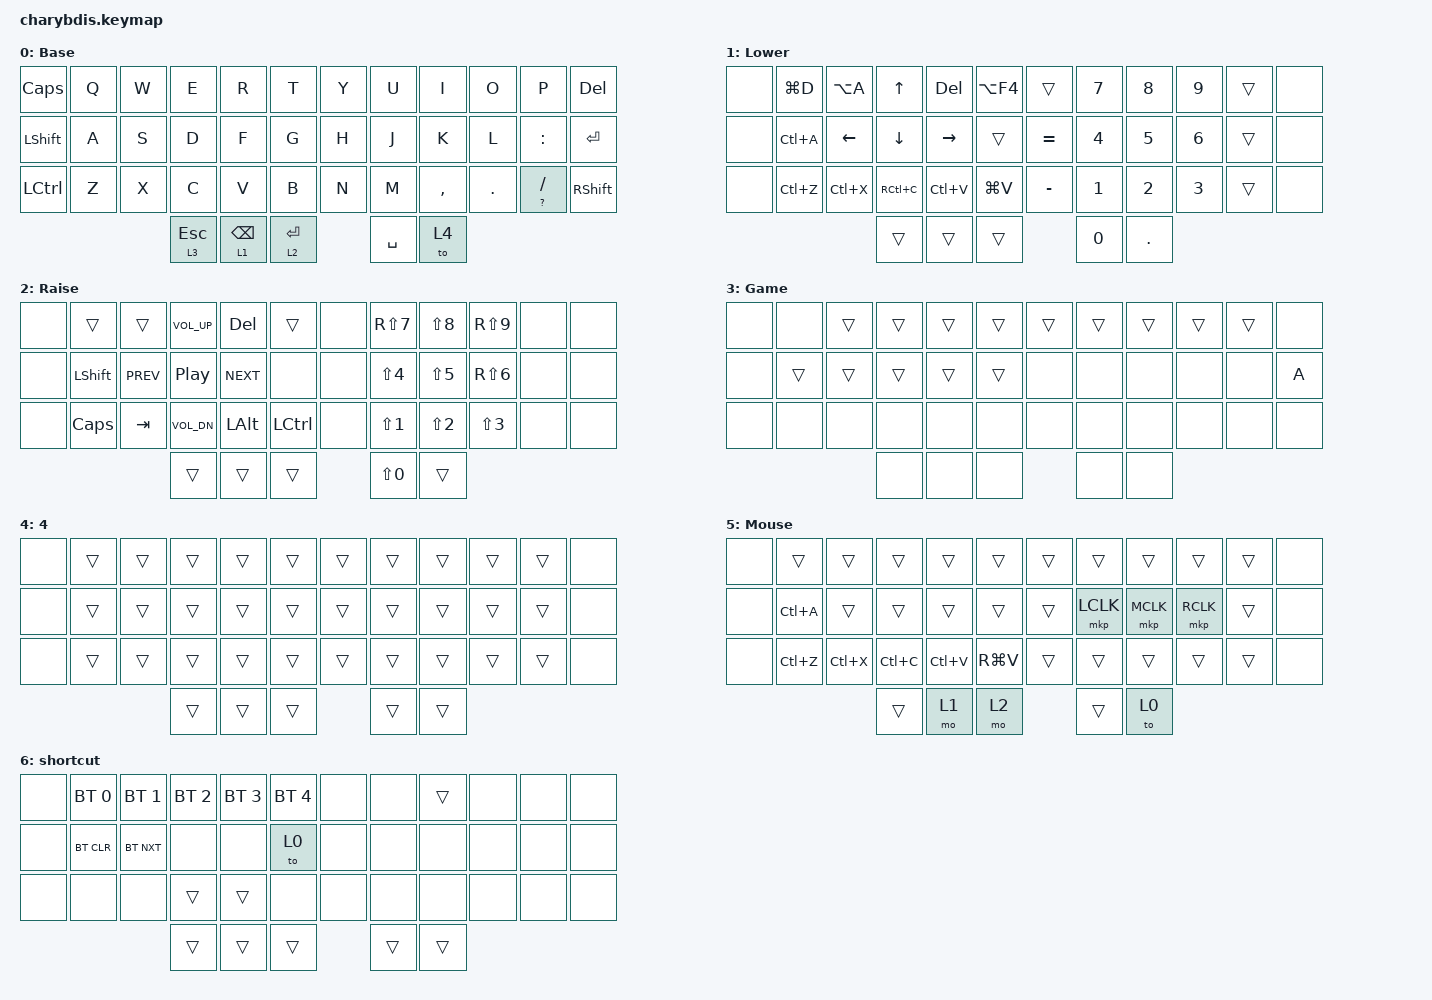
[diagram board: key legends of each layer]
#include <dt-bindings/zmk/mouse.h>
#include <behaviors.dtsi>
#include <dt-bindings/zmk/bt.h>
#include <dt-bindings/zmk/keys.h>
#include <dt-bindings/zmk/pointing.h>

&lt {
    tapping-term-ms = <240>;
    flavor = "balanced";
    quick-tap-ms = <150>;
};

&mt {
    global-quick-tap;
    flavor = "tap-preferred";
    tapping-term-ms = <200>;
};

&sk {
    release-after-ms = <2000>;
    quick-release;
};

/ {
    macros {
        dongle_bootload_macro: bootload_macro {
            compatible = "zmk,behavior-macro";
            #binding-cells = <0>;
            bindings = <&bootloader>;
            label = "BOOTLOAD_MACRO";
        };
    };

    combos {
        compatible = "zmk,combos";

        combo_esc {
            timeout-ms = <50>;
            key-positions = <0 1>;
            bindings = <&to 6>;
        };

        left_bkt {
            bindings = <&kp LEFT_BRACKET>;
            key-positions = <2 3>;
            timeout-ms = <50>;
        };

        right_bkt {
            bindings = <&kp RIGHT_BRACKET>;
            key-positions = <8 9>;
            timeout-ms = <50>;
        };

        left_par {
            bindings = <&kp LEFT_PARENTHESIS>;
            key-positions = <15 16>;
            timeout-ms = <50>;
        };

        right_par {
            bindings = <&kp RIGHT_PARENTHESIS>;
            key-positions = <19 20>;
            timeout-ms = <50>;
        };

        left_brace {
            bindings = <&kp LEFT_BRACE>;
            key-positions = <27 28>;
            timeout-ms = <50>;
        };

        right_brace {
            bindings = <&kp RIGHT_BRACE>;
            key-positions = <31 32>;
            timeout-ms = <50>;
        };

        bac {
            bindings = <&kp BACKSLASH>;
            key-positions = <5 6>;
            timeout-ms = <50>;
        };

        pipe {
            bindings = <&kp PIPE>;
            key-positions = <17 18>;
            timeout-ms = <50>;
        };
    };

    behaviors {
        hm: homerow_mods {
            compatible = "zmk,behavior-hold-tap";
            label = "HOMEROW_MODS";
            bindings = <&kp>, <&kp>;

            #binding-cells = <2>;
            tapping-term-ms = <200>;
            quick-tap-ms = <180>;
            flavor = "tap-preferred";
        };

        ltq: ltq {
            compatible = "zmk,behavior-hold-tap";
            label = "LTQ";
            bindings = <&mo>, <&kp>;

            #binding-cells = <2>;
            tapping-term-ms = <200>;
            quick-tap-ms = <180>;
        };

        as: auto_shift {
            compatible = "zmk,behavior-hold-tap";
            label = "AUTO_SHIFT";
            bindings = <&kp>, <&kp>;

            #binding-cells = <2>;
            tapping-term-ms = <135>;
            quick-tap-ms = <0>;
        };
    };

    keymap {
        compatible = "zmk,keymap";

        Base {
            label = "Base";
            bindings = <
&kp CAPS   &kp Q  &kp W  &kp E       &kp R        &kp T         &kp Y  &kp U      &kp I      &kp O    &kp P               &kp DEL
&kp LSHFT  &kp A  &kp S  &kp D       &kp F        &kp G         &kp H  &kp J      &kp K      &kp L    &kp COLON           &kp ENTER
&kp LCTRL  &kp Z  &kp X  &kp C       &kp V        &kp B         &kp N  &kp M      &kp COMMA  &kp DOT  &as QUESTION SLASH  &kp RSHFT
                         &ltq 3 ESC  &ltq 1 BSPC  &ltq 2 ENTER         &kp SPACE  &to 4
            >;
        };

        Lower {
            label = "Lower";
            bindings = <
&none  &kp LG(D)  &kp LA(A)  &kp UP     &kp DELETE  &kp LA(F4)  &trans     &kp N7  &kp N8      &kp N9  &trans  &none
&none  &kp LC(A)  &kp LEFT   &kp DOWN   &kp RIGHT   &trans      &kp EQUAL  &kp N4  &kp N5      &kp N6  &trans  &none
&none  &kp LC(Z)  &kp LC(X)  &kp RC(C)  &kp LC(V)   &kp LG(V)   &kp MINUS  &kp N1  &kp N2      &kp N3  &trans  &none
                             &trans     &trans      &trans                 &kp N0  &kp PERIOD
            >;
        };

        Raise {
            label = "Raise";
            bindings = <
&none  &trans     &trans      &kp C_VOL_UP  &kp DELETE    &trans     &none  &kp RS(NUMBER_7)  &kp LS(N8)        &kp RS(N9)        &none  &none
&none  &kp LSHFT  &kp C_PREV  &kp C_PP      &kp C_NEXT    &none      &none  &kp LS(NUMBER_4)  &kp LS(N5)        &kp RS(NUMBER_6)  &none  &none
&none  &kp CAPS   &kp TAB     &kp C_VOL_DN  &kp LEFT_ALT  &kp LCTRL  &none  &kp LS(NUMBER_1)  &kp LS(NUMBER_2)  &kp LS(NUMBER_3)  &none  &none
                              &trans        &trans        &trans            &kp LS(N0)        &trans
            >;
        };

        Game {
            label = "Game";
            bindings = <
&none  &none   &trans  &trans  &trans  &trans  &trans  &trans  &trans  &trans  &trans  &none
&none  &trans  &trans  &trans  &trans  &trans  &none   &none   &none   &none   &none   &kp A
&none  &none   &none   &none   &none   &none   &none   &none   &none   &none   &none   &none
                       &none   &none   &none           &none   &none
            >;
        };

        layer_4 {
            label = "4";
            bindings = <
&none  &trans  &trans  &trans  &trans  &trans  &trans  &trans  &trans  &trans  &trans  &none
&none  &trans  &trans  &trans  &trans  &trans  &trans  &trans  &trans  &trans  &trans  &none
&none  &trans  &trans  &trans  &trans  &trans  &trans  &trans  &trans  &trans  &trans  &none
                       &trans  &trans  &trans          &trans  &trans
            >;
        };

        Mouse {
            bindings = <
&none  &trans     &trans     &trans     &trans     &trans     &trans  &trans     &trans     &trans     &trans  &none
&none  &kp LC(A)  &trans     &trans     &trans     &trans     &trans  &mkp LCLK  &mkp MCLK  &mkp RCLK  &trans  &none
&none  &kp LC(Z)  &kp LC(X)  &kp LC(C)  &kp LC(V)  &kp RG(V)  &trans  &trans     &trans     &trans     &trans  &none
                             &trans     &mo 1      &mo 2              &trans     &to 0
            >;
        };

        Shortcut {
            label = "shortcut";
            bindings = <
&none  &bt BT_SEL 0  &bt BT_SEL 1  &bt BT_SEL 2  &bt BT_SEL 3  &bt BT_SEL 4  &none  &none   &trans  &none  &none  &none
&none  &bt BT_CLR    &bt BT_NXT    &none         &none         &to 0         &none  &none   &none   &none  &none  &none
&none  &none         &none         &trans        &trans        &none         &none  &none   &none   &none  &none  &none
                                   &trans        &trans        &trans               &trans  &trans
            >;
        };
    };

    conditional_layers {
        compatible = "zmk,conditional-layers";

        game {
            if-layers = <2 6>;
            then-layer = <3>;
        };
    };
};
